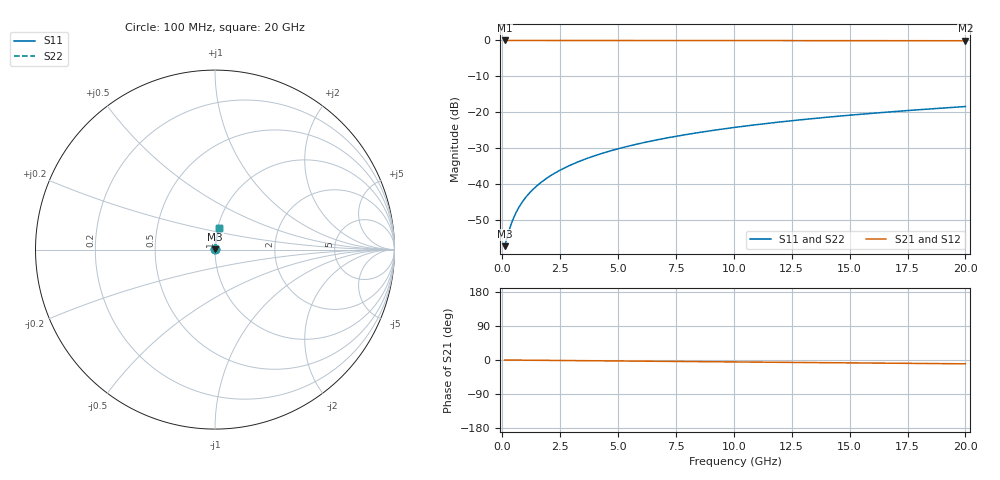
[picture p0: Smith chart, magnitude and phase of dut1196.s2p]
! Touchstone file exported from HFSS 2026.1.0
!  File:  C:/ffzhzh/LocalFiles/Ansys_Project_Files/temp_train_TMRDL_1196_1783162911_22436.aedt
!  Generated:  07:03:04 PM Jul  4, 2026
!  Design:  TMRDL
!  Project:  temp_train_TMRDL_1196_1783162911_22436
! Variables:
!  h_bsmrdl = 2um
!  h_ox = 20um
!  h_rdl = 5um
!  h_sub = 80um
!  h_tmrdl = 3.17um
!  h_tsv = 80um
!  h_via = 3um
!  l_bsmrdl = 300um
!  l_sub = 505.86um
!  l_tmrdl = 105.86um
!  m_sub = 200um
!  pitch = 35.56um
!  r_tsv = 6um
!  s_tmrdl = 10um
!  w_bsmrdl = 18um
!  w_sub = 500um
!  w_tmrdl = 11.68um
!  x_tsv_center1 = 111.7um
!  x_tsv_center2 = 429.7um
!  x_tsv_center3 = 547.24um
!  x_tsv_center4 = 865.24um
!  x_tsv_center5 = 982.78um
!  x_tsv_center6 = 1300.78um
# GHz S MA R 50.000000
! Terminal data exported
! Port[1] = TM_RDL1_1_T1
! Port[2] = TM_RDL1_1_T2
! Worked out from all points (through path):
!   200 points, 100 MHz to 20 GHz, reference 50 ohm
!   highest |S21| = -0.01 dB at 100 MHz (marker M1); lowest = -0.1 dB at 20 GHz (marker M2)
!   group delay of S21, straight-line fit = 1.4 ps
!   lowest |S11| = -57.3 dB at 100 MHz (marker M3), VSWR 1.00, Z = 50.1 + j0.0655 ohm
!   |S11| at or under -10 dB: start of sweep to end of sweep
!   |S22| runs from -57.3 to -18.4 dB; largest |S21 - S12| = 2.3e-15
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0.1  0.001371 28.5  0.9988 -0.1  0.9988 -0.1  0.001371 28.5
! Gamma 0 0 0 0
! Port Impedance 50 0 50 0
0.3  0.002309 57.4  0.9988 -0.2  0.9988 -0.2  0.002309 57.4
0.4  0.002877 63.8  0.9987 -0.2  0.9987 -0.2  0.002877 63.8
0.5  0.003464 68.0  0.9987 -0.3  0.9987 -0.3  0.003464 68.0
0.6  0.004059 71.0  0.9987 -0.3  0.9987 -0.3  0.004059 71.0
0.7  0.004658 73.1  0.9987 -0.4  0.9987 -0.4  0.004658 73.1
0.9  0.005865 76.2  0.9986 -0.5  0.9986 -0.5  0.005865 76.2
1.2  0.007687 79.0  0.9986 -0.6  0.9986 -0.6  0.007687 79.0
1.4  0.008908 80.2  0.9986 -0.7  0.9986 -0.7  0.008908 80.2
1.7  0.01075 81.5  0.9985 -0.9  0.9985 -0.9  0.01075 81.5
2.2  0.01382 82.7  0.9984 -1.1  0.9984 -1.1  0.01382 82.7
2.8  0.01752 83.6  0.9983 -1.4  0.9983 -1.4  0.01752 83.6
3.5  0.02183 84.0  0.9982 -1.8  0.9982 -1.8  0.02183 84.0
4.2  0.02614 84.2  0.998 -2.2  0.998 -2.2  0.02614 84.2
5  0.03106 84.2  0.9978 -2.6  0.9978 -2.6  0.03106 84.2
5.9  0.03657 84.0  0.9975 -3.0  0.9975 -3.0  0.03657 84.0
6.8  0.04206 83.8  0.9971 -3.5  0.9971 -3.5  0.04206 83.8
8.3  0.05116 83.3  0.9965 -4.2  0.9965 -4.2  0.05116 83.3
10.1  0.062 82.5  0.9956 -5.1  0.9956 -5.1  0.062 82.5
13.4  0.08165 81.1  0.9937 -6.8  0.9937 -6.8  0.08165 81.1
16.7  0.101 79.6  0.9915 -8.4  0.9915 -8.4  0.101 79.6
20  0.1202 78.1  0.989 -10.1  0.989 -10.1  0.1202 78.1
